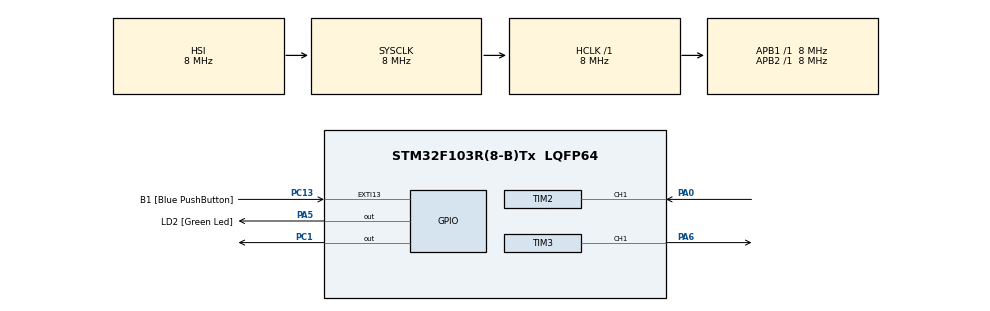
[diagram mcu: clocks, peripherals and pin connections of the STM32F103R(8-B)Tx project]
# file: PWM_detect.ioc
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Mcu.Family=STM32F1
Mcu.Name=STM32F103R(8-B)Tx
Mcu.Package=LQFP64
NVIC.EXTI15_10_IRQn=true\:0\:0\:false\:false\:true\:true\:true\:true
NVIC.PriorityGroup=NVIC_PRIORITYGROUP_4
NVIC.TIM2_IRQn=true\:0\:0\:false\:false\:true\:true\:true\:true
PA0-WKUP.Signal=S_TIM2_CH1_ETR
PA13.GPIO_Label=TMS
PA13.Mode=Serial_Wire
PA13.Signal=SYS_JTMS-SWDIO
PA14.GPIO_Label=TCK
PA14.Mode=Serial_Wire
PA14.Signal=SYS_JTCK-SWCLK
PA2.GPIO_Label=USART_TX
PA2.GPIO_Mode=GPIO_MODE_AF_PP
PA2.GPIO_PuPd=GPIO_NOPULL
PA2.GPIO_Speed=GPIO_SPEED_FREQ_LOW
PA2.Signal=USART2_TX
PA3.GPIO_Label=USART_RX
PA3.GPIO_Mode=GPIO_MODE_AF_PP
PA3.GPIO_PuPd=GPIO_NOPULL
PA3.GPIO_Speed=GPIO_SPEED_FREQ_LOW
PA3.Signal=USART2_RX
PA5.GPIO_Label=LD2 [Green Led]
PA5.GPIO_ModeDefaultOutputPP=GPIO_MODE_OUTPUT_PP
PA5.GPIO_PuPd=GPIO_NOPULL
PA5.GPIO_Speed=GPIO_SPEED_FREQ_LOW
PA5.Signal=GPIO_Output
PA6.Signal=S_TIM3_CH1
PB3.GPIO_Label=SWO
PB3.Signal=SYS_JTDO-TRACESWO
PC1.Signal=GPIO_Output
PC13-TAMPER-RTC.GPIO_Label=B1 [Blue PushButton]
PC13-TAMPER-RTC.GPIO_ModeDefaultEXTI=GPIO_MODE_IT_FALLING
PC13-TAMPER-RTC.GPIO_PuPd=GPIO_NOPULL
PC13-TAMPER-RTC.Signal=GPXTI13
PC14-OSC32_IN.Signal=RCC_OSC32_IN
PC15-OSC32_OUT.Signal=RCC_OSC32_OUT
PD0-OSC_IN.Mode=HSE-External-Oscillator
PD0-OSC_IN.Signal=RCC_OSC_IN
PD1-OSC_OUT.Mode=HSE-External-Oscillator
PD1-OSC_OUT.Signal=RCC_OSC_OUT
ProjectManager.HeapSize=0x200
ProjectManager.StackSize=0x400
ProjectManager.TargetToolchain=STM32CubeIDE
RCC.AHBFreq_Value=8000000
RCC.APB1Freq_Value=8000000
RCC.APB1TimFreq_Value=8000000
RCC.APB2Freq_Value=8000000
RCC.APB2TimFreq_Value=8000000
RCC.HCLKFreq_Value=8000000
RCC.PLLMUL=RCC_PLL_MUL9
RCC.PLLSourceVirtual=RCC_PLLSOURCE_HSE
RCC.SYSCLKFreq_VALUE=8000000
RCC.USBFreq_Value=72000000
SH.S_TIM2_CH1_ETR.0=TIM2_CH1,PWM_Input_1
SH.S_TIM3_CH1.0=TIM3_CH1,PWM Generation1 CH1
TIM2.AutoReloadPreload=TIM_AUTORELOAD_PRELOAD_ENABLE
TIM2.Period=1000
TIM2.Prescaler=800
TIM3.AutoReloadPreload=TIM_AUTORELOAD_PRELOAD_ENABLE
TIM3.Channel-PWM\ Generation1\ CH1=TIM_CHANNEL_1
TIM3.Period=32000
TIM3.Prescaler=0
TIM3.Pulse-PWM\ Generation1\ CH1=16000
VP_TIM2_VS_ClockSourceINT.Mode=Internal
VP_TIM3_VS_ClockSourceINT.Mode=Internal
board=NUCLEO-F103RB

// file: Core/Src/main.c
/* USER CODE BEGIN Header */
/**
  ******************************************************************************
  * @file           : main.c
  * @brief          : Main program body
  ******************************************************************************
  * @attention
  *
  * Copyright (c) 2024 STMicroelectronics.
  * All rights reserved.
  *
  * This software is licensed under terms that can be found in the LICENSE file
  * in the root directory of this software component.
  * If no LICENSE file comes with this software, it is provided AS-IS.
  *
  ******************************************************************************
  */
/* USER CODE END Header */
#include "main.h"

TIM_HandleTypeDef htim2;
TIM_HandleTypeDef htim3;

void SystemClock_Config(void);
static void MX_GPIO_Init(void);
static void MX_TIM2_Init(void);
static void MX_TIM3_Init(void);

/* USER CODE BEGIN 0 */
uint8_t volatile capture_state = 0;
uint32_t volatile rising_edge_1 = 0;
uint32_t volatile rising_edge_2 = 0;
uint32_t volatile falling_edge = 0;
uint32_t volatile active_time = 0;
uint32_t volatile frequency = 0;
uint32_t volatile period = 0;
float volatile duty = 0;

void calculate_PWM()
{
	if(rising_edge_2 > rising_edge_1)
	{
		period = rising_edge_2 - rising_edge_1;
	}
	else
	{
		period = 1000 - (rising_edge_1 - rising_edge_2);
	}
	//	10 timer ticks are 1000 microseconds. 1 timer tick is 100 microseconds
	period *= 100; // in microseconds

	if(falling_edge > rising_edge_1)
	{
		active_time = falling_edge - rising_edge_1;
	}
	else
	{
		active_time = 1000 - (rising_edge_1 - falling_edge);
	}

	// activeTime in microseconds
	active_time *= 100;

//	duty = (active_time / period) * 100; // duty in %
//	frequency = 1 / (period / 1000); // 1 over period in seconds

	if(active_time >= 1800 && active_time <= 2200)
	{
		  HAL_GPIO_WritePin(GPIOC, GPIO_PIN_1, GPIO_PIN_SET);
	}
	else
	{
		  HAL_GPIO_WritePin(GPIOC, GPIO_PIN_1, GPIO_PIN_RESET);
	}

}

void HAL_TIM_IC_CaptureCallback(TIM_HandleTypeDef *htim)
{
	if(htim->Channel == HAL_TIM_ACTIVE_CHANNEL_1) // rising edge on channel 1
	{
		if(capture_state == 0)
		{
			rising_edge_1 = HAL_TIM_ReadCapturedValue(htim, TIM_CHANNEL_1);
			capture_state++;
		}
		else if(capture_state == 1)
		{
			rising_edge_2 = HAL_TIM_ReadCapturedValue(htim, TIM_CHANNEL_1);
			falling_edge = HAL_TIM_ReadCapturedValue(htim, TIM_CHANNEL_2);
			calculate_PWM();

			capture_state = 0;
		}
	}

}

/* USER CODE END 0 */

int main(void)
{

  /* MCU Configuration--------------------------------------------------------*/

  /* Reset of all peripherals, Initializes the Flash interface and the Systick. */
  HAL_Init();

  /* Configure the system clock */
  SystemClock_Config();

  /* Initialize all configured peripherals */
  MX_GPIO_Init();
  MX_TIM2_Init();
  MX_TIM3_Init();
  /* USER CODE BEGIN 2 */
  HAL_TIM_IC_Start_IT(&htim2, TIM_CHANNEL_1);
  HAL_TIM_IC_Start(&htim2, TIM_CHANNEL_2);
  HAL_TIM_PWM_Start(&htim3, TIM_CHANNEL_1);

  /* USER CODE END 2 */

  /* Infinite loop */
  while (1)
  {

  }
}

void SystemClock_Config(void)
{
  RCC_OscInitTypeDef RCC_OscInitStruct = {0};
  RCC_ClkInitTypeDef RCC_ClkInitStruct = {0};

  /** Initializes the RCC Oscillators according to the specified parameters
  * in the RCC_OscInitTypeDef structure.
  */
  RCC_OscInitStruct.OscillatorType = RCC_OSCILLATORTYPE_HSI;
  RCC_OscInitStruct.HSIState = RCC_HSI_ON;
  RCC_OscInitStruct.HSICalibrationValue = RCC_HSICALIBRATION_DEFAULT;
  RCC_OscInitStruct.PLL.PLLState = RCC_PLL_NONE;
  if (HAL_RCC_OscConfig(&RCC_OscInitStruct) != HAL_OK)
  {
    Error_Handler();
  }

  /** Initializes the CPU, AHB and APB buses clocks
  */
  RCC_ClkInitStruct.ClockType = RCC_CLOCKTYPE_HCLK|RCC_CLOCKTYPE_SYSCLK
                              |RCC_CLOCKTYPE_PCLK1|RCC_CLOCKTYPE_PCLK2;
  RCC_ClkInitStruct.SYSCLKSource = RCC_SYSCLKSOURCE_HSI;
  RCC_ClkInitStruct.AHBCLKDivider = RCC_SYSCLK_DIV1;
  RCC_ClkInitStruct.APB1CLKDivider = RCC_HCLK_DIV1;
  RCC_ClkInitStruct.APB2CLKDivider = RCC_HCLK_DIV1;

  if (HAL_RCC_ClockConfig(&RCC_ClkInitStruct, FLASH_LATENCY_0) != HAL_OK)
  {
    Error_Handler();
  }
}

static void MX_TIM2_Init(void)
{

  TIM_ClockConfigTypeDef sClockSourceConfig = {0};
  TIM_SlaveConfigTypeDef sSlaveConfig = {0};
  TIM_IC_InitTypeDef sConfigIC = {0};
  TIM_MasterConfigTypeDef sMasterConfig = {0};

  htim2.Instance = TIM2;
  htim2.Init.Prescaler = 800;
  htim2.Init.CounterMode = TIM_COUNTERMODE_UP;
  htim2.Init.Period = 1000;
  htim2.Init.ClockDivision = TIM_CLOCKDIVISION_DIV1;
  htim2.Init.AutoReloadPreload = TIM_AUTORELOAD_PRELOAD_ENABLE;
  if (HAL_TIM_Base_Init(&htim2) != HAL_OK)
  {
    Error_Handler();
  }
  sClockSourceConfig.ClockSource = TIM_CLOCKSOURCE_INTERNAL;
  if (HAL_TIM_ConfigClockSource(&htim2, &sClockSourceConfig) != HAL_OK)
  {
    Error_Handler();
  }
  if (HAL_TIM_IC_Init(&htim2) != HAL_OK)
  {
    Error_Handler();
  }
  sSlaveConfig.SlaveMode = TIM_SLAVEMODE_DISABLE;
  sSlaveConfig.InputTrigger = TIM_TS_TI1FP1;
  sSlaveConfig.TriggerPolarity = TIM_INPUTCHANNELPOLARITY_RISING;
  sSlaveConfig.TriggerPrescaler = TIM_ICPSC_DIV1;
  sSlaveConfig.TriggerFilter = 0;
  if (HAL_TIM_SlaveConfigSynchro(&htim2, &sSlaveConfig) != HAL_OK)
  {
    Error_Handler();
  }
  sConfigIC.ICPolarity = TIM_INPUTCHANNELPOLARITY_RISING;
  sConfigIC.ICSelection = TIM_ICSELECTION_DIRECTTI;
  sConfigIC.ICPrescaler = TIM_ICPSC_DIV1;
  sConfigIC.ICFilter = 0;
  if (HAL_TIM_IC_ConfigChannel(&htim2, &sConfigIC, TIM_CHANNEL_1) != HAL_OK)
  {
    Error_Handler();
  }
  sConfigIC.ICPolarity = TIM_INPUTCHANNELPOLARITY_FALLING;
  sConfigIC.ICSelection = TIM_ICSELECTION_INDIRECTTI;
  if (HAL_TIM_IC_ConfigChannel(&htim2, &sConfigIC, TIM_CHANNEL_2) != HAL_OK)
  {
    Error_Handler();
  }
  sMasterConfig.MasterOutputTrigger = TIM_TRGO_RESET;
  sMasterConfig.MasterSlaveMode = TIM_MASTERSLAVEMODE_DISABLE;
  if (HAL_TIMEx_MasterConfigSynchronization(&htim2, &sMasterConfig) != HAL_OK)
  {
    Error_Handler();
  }

}

static void MX_TIM3_Init(void)
{

  TIM_ClockConfigTypeDef sClockSourceConfig = {0};
  TIM_MasterConfigTypeDef sMasterConfig = {0};
  TIM_OC_InitTypeDef sConfigOC = {0};

  htim3.Instance = TIM3;
  htim3.Init.Prescaler = 0;
  htim3.Init.CounterMode = TIM_COUNTERMODE_UP;
  htim3.Init.Period = 32000;
  htim3.Init.ClockDivision = TIM_CLOCKDIVISION_DIV1;
  htim3.Init.AutoReloadPreload = TIM_AUTORELOAD_PRELOAD_ENABLE;
  if (HAL_TIM_Base_Init(&htim3) != HAL_OK)
  {
    Error_Handler();
  }
  sClockSourceConfig.ClockSource = TIM_CLOCKSOURCE_INTERNAL;
  if (HAL_TIM_ConfigClockSource(&htim3, &sClockSourceConfig) != HAL_OK)
  {
    Error_Handler();
  }
  if (HAL_TIM_PWM_Init(&htim3) != HAL_OK)
  {
    Error_Handler();
  }
  sMasterConfig.MasterOutputTrigger = TIM_TRGO_RESET;
  sMasterConfig.MasterSlaveMode = TIM_MASTERSLAVEMODE_DISABLE;
  if (HAL_TIMEx_MasterConfigSynchronization(&htim3, &sMasterConfig) != HAL_OK)
  {
    Error_Handler();
  }
  sConfigOC.OCMode = TIM_OCMODE_PWM1;
  sConfigOC.Pulse = 16000;
  sConfigOC.OCPolarity = TIM_OCPOLARITY_HIGH;
  sConfigOC.OCFastMode = TIM_OCFAST_DISABLE;
  if (HAL_TIM_PWM_ConfigChannel(&htim3, &sConfigOC, TIM_CHANNEL_1) != HAL_OK)
  {
    Error_Handler();
  }
  HAL_TIM_MspPostInit(&htim3);

}

static void MX_GPIO_Init(void)
{
  GPIO_InitTypeDef GPIO_InitStruct = {0};

  /* GPIO Ports Clock Enable */
  __HAL_RCC_GPIOC_CLK_ENABLE();
  __HAL_RCC_GPIOD_CLK_ENABLE();
  __HAL_RCC_GPIOA_CLK_ENABLE();
  __HAL_RCC_GPIOB_CLK_ENABLE();

  /*Configure GPIO pin Output Level */
  HAL_GPIO_WritePin(GPIOC, GPIO_PIN_1, GPIO_PIN_RESET);

  /*Configure GPIO pin Output Level */
  HAL_GPIO_WritePin(LD2_GPIO_Port, LD2_Pin, GPIO_PIN_RESET);

  /*Configure GPIO pin : B1_Pin */
  GPIO_InitStruct.Pin = B1_Pin;
  GPIO_InitStruct.Mode = GPIO_MODE_IT_FALLING;
  GPIO_InitStruct.Pull = GPIO_NOPULL;
  HAL_GPIO_Init(B1_GPIO_Port, &GPIO_InitStruct);

  /*Configure GPIO pin : PC1 */
  GPIO_InitStruct.Pin = GPIO_PIN_1;
  GPIO_InitStruct.Mode = GPIO_MODE_OUTPUT_PP;
  GPIO_InitStruct.Pull = GPIO_NOPULL;
  GPIO_InitStruct.Speed = GPIO_SPEED_FREQ_LOW;
  HAL_GPIO_Init(GPIOC, &GPIO_InitStruct);

  /*Configure GPIO pins : USART_TX_Pin USART_RX_Pin */
  GPIO_InitStruct.Pin = USART_TX_Pin|USART_RX_Pin;
  GPIO_InitStruct.Mode = GPIO_MODE_AF_PP;
  GPIO_InitStruct.Speed = GPIO_SPEED_FREQ_LOW;
  HAL_GPIO_Init(GPIOA, &GPIO_InitStruct);

  /*Configure GPIO pin : LD2_Pin */
  GPIO_InitStruct.Pin = LD2_Pin;
  GPIO_InitStruct.Mode = GPIO_MODE_OUTPUT_PP;
  GPIO_InitStruct.Pull = GPIO_NOPULL;
  GPIO_InitStruct.Speed = GPIO_SPEED_FREQ_LOW;
  HAL_GPIO_Init(LD2_GPIO_Port, &GPIO_InitStruct);

  /* EXTI interrupt init*/
  HAL_NVIC_SetPriority(EXTI15_10_IRQn, 0, 0);
  HAL_NVIC_EnableIRQ(EXTI15_10_IRQn);

}

void Error_Handler(void)
{
  __disable_irq();
  while (1)
  {
  }
}
